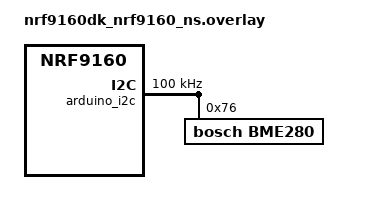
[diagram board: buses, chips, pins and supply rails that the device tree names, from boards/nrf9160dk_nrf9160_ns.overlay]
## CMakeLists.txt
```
cmake_minimum_required(VERSION 3.20.0)
find_package(Zephyr REQUIRED HINTS $ENV{ZEPHYR_BASE})

project(pharma_tracker
    VERSION 1.0.0
    DESCRIPTION "Cellular cold-chain monitor for pharmaceutical shipments"
    LANGUAGES C
)

target_sources(app PRIVATE
    src/main.c
    src/sensors.c
    src/gnss_ctrl.c
    src/log_store.c
    src/excursion.c
    src/payload.c
    src/cloud_client.c
)
```

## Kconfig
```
mainmenu "IoT Pharma Monitor (nRF9160)"
source "Kconfig.zephyr"
```

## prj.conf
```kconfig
# =====================================================================
# IoT Pharma Monitoring Device - project configuration
#
# TARGET: nRF Connect SDK v2.7.0 or newer (verified against the v2.8
#         API set; also correct for v2.9.x and v3.x).
#
# If you are on v2.6 or older, three symbols below are DIFFERENT and the
# build will fail or, worse, silently fail TLS. See README.md section
# "SDK version matrix" before changing anything.
# =====================================================================

# ---------------------------------------------------------------------
# 1. MANDATORY USER SETTINGS - fill these in before the first build
# ---------------------------------------------------------------------

# From:  aws iot describe-endpoint --endpoint-type iot:Data-ATS
CONFIG_AWS_IOT_BROKER_HOST_NAME="REPLACE-WITH-YOUR-ENDPOINT-ats.iot.eu-central-1.amazonaws.com"

# Must exactly match the AWS IoT Thing name.
CONFIG_AWS_IOT_CLIENT_ID_STATIC="pharma-tracker-001"

# Security tag the device certificate/key/CA were provisioned under.
# NOTE: on NCS <= 2.6 this option is called CONFIG_AWS_IOT_SEC_TAG.
CONFIG_MQTT_HELPER_SEC_TAG=42

# ---------------------------------------------------------------------
# 2. MODEM AND CELLULAR LINK
# ---------------------------------------------------------------------
CONFIG_NRF_MODEM_LIB=y
CONFIG_LTE_LINK_CONTROL=y

# Multimode: try LTE-M and NB-IoT, GNSS enabled.
#   LTE-M  - mobility and handover, needed while the shipment is moving,
#            and fast enough for firmware updates.
#   NB-IoT - best link budget, needed inside a warehouse cold room.
# Letting the modem select gives the best of both across a shipment.
CONFIG_LTE_NETWORK_MODE_LTE_M_NBIOT_GPS=y

# Power Saving Mode. Encoding is 3GPP 24.008 ch. 10.5.7.4a / 10.5.7.3:
#   RPTAU "00100001" -> unit bits 001 = 1 hour, value 00001 = 1  -> ~1 h
#   RAT   "00000000" -> unit bits 000 = 2 s,    value 00000 = 0  -> ~0 s
# A near-zero active timer is what lets the modem drop to the ~2.7 uA
# floor immediately after a transaction instead of idling at ~37 uA.
# The NETWORK may grant different values - watch the PSM_UPDATE log line.
CONFIG_LTE_PSM_REQ=y
CONFIG_LTE_PSM_REQ_RPTAU="00100001"
CONFIG_LTE_PSM_REQ_RAT="00000000"

# Uncomment to lock to the bands you actually deploy on. Band locking
# markedly shortens network search and avoids expensive HPPLMN scans on
# global/roaming SIMs. Bitmask is little-endian, bit 0 = band 1.
# CONFIG_LTE_LOCK_BANDS=y
# CONFIG_LTE_LOCK_BAND_MASK="10000000000010000001000000000000000010100"

# ---------------------------------------------------------------------
# 3. NETWORKING (all sockets are offloaded to the modem)
# ---------------------------------------------------------------------
CONFIG_NETWORKING=y
CONFIG_NET_NATIVE=n
CONFIG_NET_SOCKETS=y
CONFIG_NET_SOCKETS_OFFLOAD=y
CONFIG_NET_SOCKETS_POSIX_NAMES=n

# ---------------------------------------------------------------------
# 4. AWS IOT
# ---------------------------------------------------------------------
CONFIG_MQTT_LIB=y
CONFIG_MQTT_LIB_TLS=y
CONFIG_AWS_IOT=y

# One extra (non-shadow) topic: the device command topic.
CONFIG_AWS_IOT_APP_SUBSCRIPTION_LIST_COUNT=1

# Subscribe to the shadow delta so configuration changes are visible.
CONFIG_AWS_IOT_TOPIC_UPDATE_DELTA_SUBSCRIBE=y

# Payload buffer. Measured worst case is ~1170 B for a 10-record batch;
# 2048 leaves headroom without wasting RAM.
CONFIG_MQTT_HELPER_RX_TX_BUFFER_SIZE=2048
CONFIG_MQTT_HELPER_PAYLOAD_BUFFER_LEN=2048

# Keepalive must be shorter than the cellular NAT timeout or the broker
# will appear to drop the connection at random. 20 min is the AWS
# maximum; many LTE networks NAT-expire well before that.
CONFIG_MQTT_KEEPALIVE=600

# ---------------------------------------------------------------------
# 5. TIME
# ---------------------------------------------------------------------
CONFIG_DATE_TIME=y
CONFIG_DATE_TIME_AUTO_UPDATE=y
CONFIG_DATE_TIME_MODEM=y
CONFIG_DATE_TIME_NTP=y

# ---------------------------------------------------------------------
# 6. PERSISTENT STORAGE (the flash audit buffer)
# ---------------------------------------------------------------------
CONFIG_FLASH=y
CONFIG_FLASH_MAP=y
CONFIG_FLASH_PAGE_LAYOUT=y
CONFIG_NVS=y
CONFIG_MPU_ALLOW_FLASH_WRITE=y

# ---------------------------------------------------------------------
# 7. SENSORS
# ---------------------------------------------------------------------
CONFIG_I2C=y
CONFIG_SENSOR=y
CONFIG_BME280=y

# PT1000 RTD probe. Only meaningful together with
# overlays/rtd_probe.overlay - see README, "Ultra-cold payloads".
# CONFIG_SPI=y
# CONFIG_MAX31865=y

# ---------------------------------------------------------------------
# 8. SYSTEM
# ---------------------------------------------------------------------
CONFIG_MAIN_STACK_SIZE=4096
CONFIG_SYSTEM_WORKQUEUE_STACK_SIZE=2048
CONFIG_HEAP_MEM_POOL_SIZE=8192

CONFIG_REBOOT=y
CONFIG_ASSERT=y

# Watchdog-style protection against a wedged modem or MQTT thread can be
# added later; see README "Hardening checklist".

# ---------------------------------------------------------------------
# 9. LOGGING
#
# Keep logging ON while bringing the device up. For a battery build turn
# it OFF: an enabled UART console alone costs far more than the 2.7 uA
# PSM floor and will invalidate the power budget.
# ---------------------------------------------------------------------
CONFIG_LOG=y
CONFIG_LOG_MODE_DEFERRED=y
CONFIG_LOG_BUFFER_SIZE=4096
CONFIG_PHARMA_LOG_LEVEL_INF=y

CONFIG_PRINTK=y
CONFIG_CONSOLE=y
CONFIG_UART_CONSOLE=y
CONFIG_SERIAL=y

# We transmit only scaled integers, so no floating point formatter is
# needed. Leaving this off saves flash and avoids soft-double routines.
CONFIG_CBPRINTF_FP_SUPPORT=n

# ---------------------------------------------------------------------
# 10. PRODUCTION POWER PROFILE
#
# Uncomment this whole block for battery measurements and shipping
# firmware. Expect the PSM floor to drop to single-digit microamps only
# after the UART is genuinely disabled.
# ---------------------------------------------------------------------
# CONFIG_LOG=n
# CONFIG_SERIAL=n
# CONFIG_UART_CONSOLE=n
# CONFIG_CONSOLE=n
# CONFIG_PRINTK=n
# CONFIG_ASSERT=n

# ---------------------------------------------------------------------
# Floating-point support  [ADDED AFTER VIRTUAL-RUN VALIDATION]
#
# excursion.c computes Mean Kinetic Temperature using exp() and log()
# from libm. Without a math-capable libc these are undefined symbols and
# the image FAILS TO LINK:
#     undefined reference to `exp'
#     undefined reference to `log'
# This was caught by compiling excursion.c standalone; it is invisible
# until link time, which is why it survived earlier review.
#
# The nRF9160's Cortex-M33 has a hardware FPU. CONFIG_FPU=y makes the MKT
# computation use it instead of soft-float emulation.
#
# Float PRINTF stays off deliberately: payload.c emits integers only
# (centi-Celsius), so pulling in float formatting would cost ~2 kB of
# flash for nothing.
# ---------------------------------------------------------------------
CONFIG_FPU=y
CONFIG_NEWLIB_LIBC=y
CONFIG_NEWLIB_LIBC_FLOAT_PRINTF=n
```

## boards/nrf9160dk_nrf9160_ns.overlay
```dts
/*
 * Board overlay for the nRF9160 DK (PCA10090)
 *
 * Enables the BME280 environment sensor on the Arduino I2C bus.
 * The Arduino I2C bus on the nRF9160 DK maps to i2c2:
 *   SDA = P0.30  (Arduino header D14)
 *   SCL = P0.31  (Arduino header D15)
 *
 * Wiring:
 *   BME280 SDA  -> P0.30 (DK Arduino D14 / SDA)
 *   BME280 SCL  -> P0.31 (DK Arduino D15 / SCL)
 *   BME280 SDO  -> GND   (I2C address 0x76)
 *   BME280 CSB  -> VIN   (selects I2C mode)
 */
&arduino_i2c {
    status = "okay";
    clock-frequency = <I2C_BITRATE_STANDARD>;

    bme280: bme280@76 {
        compatible = "bosch,bme280";
        reg = <0x76>;
    };
};
```

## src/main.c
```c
/*
 * IoT Pharma Monitoring Device
 *
 * Cold-chain monitor built on the nRF9160: temperature, pressure,
 * humidity, GNSS location and excursion/MKT statistics, buffered to
 * flash and forwarded to AWS IoT Core over LTE-M / NB-IoT.
 *
 * CONTROL FLOW
 *   A single scheduling thread drives everything from monotonic uptime
 *   deadlines. This is deliberate: with one thread there are no races
 *   between sampling, publishing and GNSS, the ordering of events is
 *   reproducible, and the timing is trivial to reason about during a
 *   design review. Asynchronous work (modem, MQTT) arrives through
 *   callbacks that only ever set flags or give semaphores.
 *
 *   boot
 *     -> modem init -> storage -> sensors -> GNSS -> cloud lib
 *     -> LTE attach -> time sync -> backfill timestamps -> MQTT connect
 *     -> loop { sample | GNSS fix | publish | sleep }
 *
 * DATA INTEGRITY RULE
 *   Every sample is committed to flash before any transmission is
 *   attempted, and is only released after the broker returns a PUBACK.
 *   Loss of coverage therefore cannot create a hole in the record.
 *
 * SPDX-License-Identifier: Apache-2.0
 */

#include "app_config.h"
#include "record.h"
#include "log_store.h"
#include "sensors.h"
#include "gnss_ctrl.h"
#include "excursion.h"
#include "payload.h"
#include "cloud_client.h"

#include <zephyr/kernel.h>
#include <zephyr/logging/log.h>
#include <zephyr/sys/reboot.h>

#include <modem/nrf_modem_lib.h>
#include <modem/lte_lc.h>
#include <date_time.h>

#include <string.h>
#include <stdlib.h>

LOG_MODULE_REGISTER(main, CONFIG_PHARMA_LOG_LEVEL);

/* ------------------------------------------------------------------ *
 * Static working storage.
 *
 * Everything the hot path needs is allocated statically so that memory
 * exhaustion is a build-time property, not a field failure.
 * ------------------------------------------------------------------ */
static struct sample_record batch[APP_PUBLISH_BATCH_MAX];
static char                 payload_buf[APP_PAYLOAD_BUF_SIZE];

static K_SEM_DEFINE(lte_ready_sem, 0, 1);
static K_SEM_DEFINE(time_ready_sem, 0, 1);

static volatile bool lte_registered;
static volatile bool time_valid;

/* Offset that converts device uptime into UTC, learned at first sync. */
static int64_t uptime_to_utc_ms;
static bool    time_backfilled;

/* Scheduling deadlines, in uptime milliseconds. */
static int64_t next_sample_ms;
static int64_t next_publish_ms;
static int64_t next_gnss_ms;
static int64_t last_alarm_ms;

static uint32_t reconnect_backoff_s = APP_RECONNECT_BACKOFF_MIN_S;

/* ------------------------------------------------------------------ *
 * Modem and network callbacks
 * ------------------------------------------------------------------ */

static void lte_handler(const struct lte_lc_evt *const evt)
{
	switch (evt->type) {
	case LTE_LC_EVT_NW_REG_STATUS:
		switch (evt->nw_reg_status) {
		case LTE_LC_NW_REG_REGISTERED_HOME:
		case LTE_LC_NW_REG_REGISTERED_ROAMING:
			if (!lte_registered) {
				lte_registered = true;
				LOG_INF("LTE registered (%s)",
					evt->nw_reg_status ==
						LTE_LC_NW_REG_REGISTERED_HOME ?
						"home" : "roaming");
				k_sem_give(&lte_ready_sem);
			}
			break;
		case LTE_LC_NW_REG_NOT_REGISTERED:
		case LTE_LC_NW_REG_REGISTRATION_DENIED:
		case LTE_LC_NW_REG_UNKNOWN:
		case LTE_LC_NW_REG_UICC_FAIL:
			if (lte_registered) {
				LOG_WRN("LTE registration lost (%d)",
					evt->nw_reg_status);
			}
			lte_registered = false;
			break;
		default:
			break;
		}
		break;

	case LTE_LC_EVT_PSM_UPDATE:
		/*
		 * These are the values the NETWORK granted, which are often
		 * not what we requested. Log them: if the active timer is
		 * long the device will not reach the 2.7 uA floor and the
		 * battery estimate in docs/POWER_BUDGET.md will not hold.
		 */
		LOG_INF("PSM granted: TAU %d s, active %d s",
			evt->psm_cfg.tau, evt->psm_cfg.active_time);
		if (evt->psm_cfg.active_time < 0) {
			LOG_WRN("network refused PSM - expect much higher current");
		}
		break;

	case LTE_LC_EVT_EDRX_UPDATE:
		LOG_INF("eDRX granted: %d s cycle", (int)evt->edrx_cfg.edrx);
		break;

	case LTE_LC_EVT_RRC_UPDATE:
		LOG_DBG("RRC %s", evt->rrc_mode == LTE_LC_RRC_MODE_CONNECTED ?
			"connected" : "idle");
		break;

	default:
		break;
	}
}

static void date_time_handler(const struct date_time_evt *evt)
{
	switch (evt->type) {
	case DATE_TIME_OBTAINED_MODEM:
	case DATE_TIME_OBTAINED_NTP:
	case DATE_TIME_OBTAINED_EXT:
		if (!time_valid) {
			time_valid = true;
			k_sem_give(&time_ready_sem);
		}
		break;
	case DATE_TIME_NOT_OBTAINED:
		LOG_WRN("date-time not obtained");
		break;
	default:
		break;
	}
}

static void cloud_state_changed(bool connected)
{
	if (connected) {
		reconnect_backoff_s = APP_RECONNECT_BACKOFF_MIN_S;
	}
}

static void cloud_cmd_received(const char *topic, size_t topic_len,
			       const char *payload, size_t payload_len)
{
	ARG_UNUSED(topic);
	ARG_UNUSED(topic_len);

	/*
	 * Downlink commands are intentionally minimal for now. Anything
	 * that changes the alarm window or the sampling cadence of a
	 * regulated device must be authenticated and audited, so it is
	 * left as an explicit integration step rather than a silent
	 * remote-write path.
	 */
	LOG_INF("command received (%u bytes): %.*s",
		(unsigned int)payload_len, (int)payload_len, payload);
}

/* ------------------------------------------------------------------ *
 * Time handling
 * ------------------------------------------------------------------ */

/*
 * Return a timestamp for a record.
 *
 * Before the modem has network time we still have to log - a shipment
 * does not wait for a base station. Records taken in that window carry
 * uptime and are flagged as not-absolute; once time arrives they are
 * corrected in place by log_store_backfill_time().
 */
static int64_t record_timestamp(bool *absolute)
{
	int64_t utc_ms;

	if (date_time_now(&utc_ms) == 0) {
		*absolute = true;
		return utc_ms;
	}

	*absolute = false;
	return k_uptime_get();
}

static void try_backfill_time(void)
{
	int64_t utc_ms;

	if (time_backfilled || !time_valid) {
		return;
	}
	if (date_time_now(&utc_ms) != 0) {
		return;
	}

	uptime_to_utc_ms = utc_ms - k_uptime_get();
	(void)log_store_backfill_time(uptime_to_utc_ms);
	time_backfilled = true;
}

/* ------------------------------------------------------------------ *
 * Sampling
 * ------------------------------------------------------------------ */

static bool sample_once(void)
{
	struct sample_record rec;
	struct sensor_reading sr;
	struct gnss_fix fix;
	bool absolute = false;
	bool alarm_edge = false;
	uint16_t batt = 0U;
	int err;

	memset(&rec, 0, sizeof(rec));

	rec.ts_ms    = record_timestamp(&absolute);
	rec.amb_cc   = REC_TEMP_INVALID;
	rec.probe_cc = REC_TEMP_INVALID;
	rec.hum_cpct = REC_HUM_INVALID;
	rec.press_pa = REC_PRESS_INVALID;

	if (absolute) {
		rec.flags |= REC_FLAG_TIME_VALID;
	}

	err = sensors_read(&sr);
	if (err) {
		LOG_ERR("sensor read failed (%d) - logging an empty record", err);
	} else {
		rec.amb_cc   = sr.amb_cc;
		rec.probe_cc = sr.probe_cc;
		rec.hum_cpct = sr.hum_cpct;
		rec.press_pa = sr.press_pa;

		if (sr.amb_valid) {
			rec.flags |= REC_FLAG_AMB_VALID;
		}
		if (sr.probe_valid) {
			rec.flags |= REC_FLAG_PROBE_VALID;
		}
	}

	if (sensors_battery_mv(&batt) == 0) {
		rec.batt_mv = batt;
	}

	/* Attach the most recent GNSS fix. Location changes far more
	 * slowly than temperature, so re-using the last fix is correct
	 * and avoids a 50 mA receiver run on every sample.
	 */
	gnss_ctrl_last_fix(&fix);
	if (fix.valid) {
		rec.lat_e7 = fix.lat_e7;
		rec.lon_e7 = fix.lon_e7;
		rec.flags |= REC_FLAG_FIX_VALID;
	}

	rec.flags |= excursion_update(&rec, &alarm_edge);

	err = log_store_push(&rec);
	if (err) {
		LOG_ERR("failed to persist sample (%d)", err);
	} else {
		int16_t t_cc;

		if (record_compliance_temp(&rec, &t_cc)) {
			LOG_INF("seq %u: %d.%02d C, %u.%02u %%RH, %u Pa, %u mV%s",
				rec.seq, t_cc / 100, abs(t_cc % 100),
				rec.hum_cpct == REC_HUM_INVALID ? 0U :
					rec.hum_cpct / 100U,
				rec.hum_cpct == REC_HUM_INVALID ? 0U :
					rec.hum_cpct % 100U,
				rec.press_pa == REC_PRESS_INVALID ? 0U :
					rec.press_pa,
				rec.batt_mv,
				(rec.flags & REC_FLAG_ALARM) ? "  [ALARM]" : "");
		}
	}

	return alarm_edge;
}

/* ------------------------------------------------------------------ *
 * Publishing
 * ------------------------------------------------------------------ */

static int ensure_cloud(void)
{
	int err;

	if (cloud_client_is_connected()) {
		return 0;
	}
	if (!lte_registered) {
		return -ENETDOWN;
	}

	LOG_INF("reconnecting to cloud");

	err = cloud_client_connect(APP_CLOUD_CONNECT_TIMEOUT_S);
	if (err) {
		LOG_WRN("cloud connect failed (%d), backing off %u s",
			err, reconnect_backoff_s);
		k_sleep(K_SECONDS(reconnect_backoff_s));

		reconnect_backoff_s *= 2U;
		if (reconnect_backoff_s > APP_RECONNECT_BACKOFF_MAX_S) {
			reconnect_backoff_s = APP_RECONNECT_BACKOFF_MAX_S;
		}
		return err;
	}

	reconnect_backoff_s = APP_RECONNECT_BACKOFF_MIN_S;
	return 0;
}

/*
 * Drain the flash buffer to the broker, one batch at a time.
 *
 * Returns the number of records confirmed delivered. Stops at the first
 * failure and leaves everything still unacknowledged in flash so the
 * next attempt resumes exactly where this one stopped.
 */
static int publish_pending(void)
{
	struct excursion_stats stats;
	int delivered = 0;

	if (ensure_cloud() != 0) {
		return 0;
	}

	excursion_get_stats(&stats);

	while (log_store_pending() > 0U) {
		size_t count = 0U;
		size_t len = 0U;
		uint32_t last_seq;
		int err;

		err = log_store_peek(batch, ARRAY_SIZE(batch), &count);
		if (err || count == 0U) {
			break;
		}

		err = payload_build_telemetry(payload_buf, sizeof(payload_buf),
					      cloud_client_id(), batch, count,
					      &stats, log_store_dropped(), &len);
		if (err == -ENOMEM && count > 1U) {
			/*
			 * Defensive: should not happen with the configured
			 * batch size, but if a record ever encodes larger
			 * than expected, halve the batch rather than stall
			 * the pipeline forever.
			 */
			LOG_WRN("batch of %u too large, retrying with %u",
				(unsigned int)count, (unsigned int)(count / 2U));
			count /= 2U;
			err = payload_build_telemetry(payload_buf,
						      sizeof(payload_buf),
						      cloud_client_id(),
						      batch, count, &stats,
						      log_store_dropped(), &len);
		}
		if (err) {
			LOG_ERR("payload build failed (%d)", err);
			break;
		}

		last_seq = batch[count - 1U].seq;

		err = cloud_client_publish_telemetry(payload_buf, len, 30U);
		if (err) {
			LOG_WRN("publish failed (%d), %u records stay buffered",
				err, log_store_pending());
			break;
		}

		/* Broker has acknowledged: safe to release from flash. */
		(void)log_store_ack(last_seq);
		delivered += (int)count;
	}

	if (delivered > 0) {
		LOG_INF("delivered %d records, %u still pending",
			delivered, log_store_pending());
	}

	return delivered;
}

static void publish_alarm(void)
{
	struct excursion_stats stats;
	size_t count = 0U, len = 0U;
	int64_t now = k_uptime_get();

	if ((last_alarm_ms != 0) &&
	    (now - last_alarm_ms < (int64_t)APP_ALARM_MIN_INTERVAL_S * 1000)) {
		LOG_INF("alarm suppressed (rate limit)");
		return;
	}

	if (ensure_cloud() != 0) {
		LOG_WRN("alarm raised but cloud unreachable - buffered in flash");
		return;
	}

	excursion_get_stats(&stats);

	/* Send the most recent records so the alarm carries its own
	 * evidence rather than just a flag.
	 */
	if (log_store_peek(batch, ARRAY_SIZE(batch), &count) != 0 || count == 0U) {
		return;
	}

	if (payload_build_telemetry(payload_buf, sizeof(payload_buf),
				    cloud_client_id(), batch, count, &stats,
				    log_store_dropped(), &len) != 0) {
		return;
	}

	if (cloud_client_publish_alarm(payload_buf, len, 30U) == 0) {
		last_alarm_ms = now;
		LOG_WRN("ALARM published");
	}
}

static void publish_shadow(void)
{
	struct excursion_stats stats;
	size_t len = 0U;
	uint16_t batt = 0U;

	if (!cloud_client_is_connected()) {
		return;
	}

	excursion_get_stats(&stats);
	(void)sensors_battery_mv(&batt);

	if (payload_build_shadow(payload_buf, sizeof(payload_buf), &stats,
				 batt, log_store_pending(),
				 log_store_dropped(), &len) == 0) {
		(void)cloud_client_publish_shadow(payload_buf, len);
	}
}

/* ------------------------------------------------------------------ *
 * GNSS
 * ------------------------------------------------------------------ */

static void do_gnss_fix(void)
{
	struct gnss_fix fix;
	int err;

	/*
	 * Take the fix while the modem is idle. GNSS and LTE share one RF
	 * front end, so running a fix during a publish makes both slower
	 * and more expensive.
	 */
	LOG_INF("starting GNSS fix (timeout %d s)", APP_GNSS_TIMEOUT_S);

	err = gnss_ctrl_fix(&fix, APP_GNSS_TIMEOUT_S);
	if (err) {
		LOG_WRN("no GNSS fix this cycle (%d)%s", err,
			gnss_ctrl_was_blocked() ? " - LTE contention" : "");
	}
}

/* ------------------------------------------------------------------ *
 * Startup
 * ------------------------------------------------------------------ */

static int bring_up_network(void)
{
	int err;

	LOG_INF("attaching to LTE (this can take minutes on first boot)");

	err = lte_lc_connect_async(lte_handler);
	if (err) {
		LOG_ERR("lte_lc_connect_async failed (%d)", err);
		return err;
	}

	if (k_sem_take(&lte_ready_sem,
		       K_SECONDS(APP_LTE_CONNECT_TIMEOUT_S)) != 0) {
		LOG_ERR("LTE attach timed out after %d s",
			APP_LTE_CONNECT_TIMEOUT_S);
		return -ETIMEDOUT;
	}

	return 0;
}

static void bring_up_time(void)
{
	date_time_register_handler(date_time_handler);
	(void)date_time_update_async(NULL);

	if (k_sem_take(&time_ready_sem,
		       K_SECONDS(APP_TIME_SYNC_TIMEOUT_S)) == 0) {
		LOG_INF("network time obtained");
	} else {
		LOG_WRN("no network time yet - logging with uptime, will backfill");
	}

	try_backfill_time();
}

int main(void)
{
	int err;
	int64_t now;

	LOG_INF("=====================================================");
	LOG_INF(" IoT Pharma Monitoring Device  v%s", APP_FW_VERSION);
	LOG_INF(" profile %s  sample %ds  publish %ds  gnss %ds",
		APP_PROFILE_NAME, APP_SAMPLE_PERIOD_S,
		APP_PUBLISH_PERIOD_S, APP_GNSS_PERIOD_S);
	LOG_INF("=====================================================");

	err = nrf_modem_lib_init();
	if (err) {
		LOG_ERR("nrf_modem_lib_init failed (%d) - halting", err);
		return err;
	}

	err = log_store_init();
	if (err) {
		LOG_ERR("storage init failed (%d) - halting", err);
		return err;
	}

	err = sensors_init();
	if (err) {
		/*
		 * Refuse to run rather than silently produce an unusable
		 * compliance record. This is the correct behaviour for a
		 * regulated device: no data is better than wrong data.
		 */
		LOG_ERR("sensor configuration invalid (%d) - halting", err);
		return err;
	}

	excursion_init();

	err = gnss_ctrl_init();
	if (err) {
		LOG_WRN("GNSS init failed (%d) - continuing without location",
			err);
	}

	err = cloud_client_init(cloud_cmd_received, cloud_state_changed);
	if (err) {
		LOG_ERR("cloud init failed (%d) - halting", err);
		return err;
	}

	/*
	 * Start sampling immediately, before the network is up. A shipment
	 * that begins in a warehouse with no coverage must still be logged
	 * from the first minute.
	 */
	now = k_uptime_get();
	next_sample_ms  = now;
	next_gnss_ms    = now + 30000;   /* let the modem settle first */
	next_publish_ms = now + (int64_t)APP_PUBLISH_PERIOD_S * 1000;

	if (bring_up_network() == 0) {
		bring_up_time();
		if (ensure_cloud() == 0) {
			publish_shadow();
		}
	} else {
		LOG_WRN("starting offline - samples will buffer to flash");
	}

	LOG_INF("entering main loop");

	while (1) {
		int64_t sleep_ms;
		bool alarm_edge = false;

		now = k_uptime_get();

		/* ---- sample ---------------------------------------- */
		if (now >= next_sample_ms) {
			alarm_edge = sample_once();
			next_sample_ms = now +
					 (int64_t)APP_SAMPLE_PERIOD_S * 1000;

			try_backfill_time();
		}

		/* ---- alarm: publish out of turn --------------------- */
		if (alarm_edge && APP_EXCURSION_IMMEDIATE) {
			publish_alarm();
			/* The alarm carried the buffered records, so let the
			 * normal drain follow immediately to clear them.
			 */
			(void)publish_pending();
			next_publish_ms = k_uptime_get() +
					  (int64_t)APP_PUBLISH_PERIOD_S * 1000;
		}

		/* ---- GNSS ------------------------------------------ */
		now = k_uptime_get();
		if (now >= next_gnss_ms) {
			do_gnss_fix();
			next_gnss_ms = k_uptime_get() +
				       (int64_t)APP_GNSS_PERIOD_S * 1000;
		}

		/* ---- scheduled publish ----------------------------- */
		now = k_uptime_get();
		if (now >= next_publish_ms) {
			(void)publish_pending();
			publish_shadow();
			next_publish_ms = k_uptime_get() +
					  (int64_t)APP_PUBLISH_PERIOD_S * 1000;
		}

		/* ---- sleep until the next deadline ------------------ */
		now = k_uptime_get();
		sleep_ms = MIN(next_sample_ms, MIN(next_gnss_ms, next_publish_ms))
			   - now;

		if (sleep_ms < 10) {
			sleep_ms = 10;      /* never spin */
		}

		/* Cast to int: sleep_ms is bounded by the longest period
		 * (6 h = 21.6e6 ms) and fits comfortably in 32 bits. Avoids
		 * depending on 64-bit conversions in Zephyr's reduced printf.
		 */
		LOG_DBG("idle for %d ms", (int)sleep_ms);
		k_sleep(K_MSEC(sleep_ms));
	}

	return 0;
}
```

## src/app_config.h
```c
/*
 * app_config.h - compile-time configuration for the pharma tracker
 *
 * All timing in seconds. All temperatures in centi-Celsius (1/100 °C).
 * Change the active profile block to match your shipment type.
 *
 * SPDX-License-Identifier: Apache-2.0
 */
#ifndef APP_CONFIG_H__
#define APP_CONFIG_H__

/* ============================================================ */
/* Temperature profile — uncomment exactly ONE                   */
/* ============================================================ */

/* Refrigerated pharmaceuticals: vaccines, biologics, insulin    */
#define APP_PROFILE_ID       1
#define APP_PROFILE_NAME     "REFRIG_2_8"
#define APP_TEMP_LO_CC       200     /*  +2.00 °C in centi-Celsius */
#define APP_TEMP_HI_CC       800     /*  +8.00 °C in centi-Celsius */

/* Controlled room temperature
#define APP_PROFILE_ID       0
#define APP_PROFILE_NAME     "CRT_15_25"
#define APP_TEMP_LO_CC       1500
#define APP_TEMP_HI_CC       2500
*/

/* Frozen (-25 to -15 °C) - requires PT1000 probe overlay
#define APP_PROFILE_ID       2
#define APP_PROFILE_NAME     "FROZEN_M25_M15"
#define APP_TEMP_LO_CC       (-2500)
#define APP_TEMP_HI_CC       (-1500)
*/

/* Ultra-cold (-80 to -60 °C) - requires PT1000 probe overlay
#define APP_PROFILE_ID       3
#define APP_PROFILE_NAME     "ULTRACOLD_M80_M60"
#define APP_TEMP_LO_CC       (-8000)
#define APP_TEMP_HI_CC       (-6000)
*/

/* ============================================================ */
/* Timing                                                        */
/* ============================================================ */
#define APP_SAMPLE_PERIOD_S      300    /* sense every 5 min        */
#define APP_PUBLISH_PERIOD_S     3600   /* batch uplink every 1 h   */
#define APP_GNSS_PERIOD_S        21600  /* GNSS fix every 6 h       */

/* ============================================================ */
/* Storage / payload                                             */
/* ============================================================ */
#define APP_STORE_MAX_RECORDS    512    /* ring buffer hard cap      */
#define APP_PUBLISH_BATCH_MAX    10     /* records per MQTT message  */
#define APP_PAYLOAD_BUF_SIZE     1536   /* bytes, sized in README    */

/* ============================================================ */
/* Excursion detection                                           */
/* ============================================================ */
/* N consecutive out-of-band samples before alarm fires.
 * At 5-min cadence: 3 × 300 s = 15 min confirmation window.
 * Rejects door-opens; real excursions always take longer.      */
#define APP_EXC_CONFIRM_COUNT    3

/* ============================================================ */
/* Firmware identity                                             */
/* ============================================================ */
#define APP_FW_VERSION           "1.0.0"
#define APP_MQTT_TOPIC_FMT       "pharma/%s/telemetry"
#define APP_SHADOW_TOPIC_FMT     "$aws/things/%s/shadow/update"

/* ============================================================ */
/* Logging level (0=off 1=err 2=wrn 3=inf 4=dbg)               */
/* ============================================================ */
#ifndef CONFIG_PHARMA_LOG_LEVEL
#define CONFIG_PHARMA_LOG_LEVEL  3
#endif

#endif /* APP_CONFIG_H__ */
```

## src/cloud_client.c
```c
/*
 * IoT Pharma Monitoring Device - AWS IoT Core client
 *
 * SPDX-License-Identifier: Apache-2.0
 */

#include "cloud_client.h"
#include "app_config.h"

#include <zephyr/kernel.h>
#include <zephyr/logging/log.h>
#include <zephyr/net/mqtt.h>
#include <net/aws_iot.h>
#include <stdio.h>
#include <string.h>

LOG_MODULE_REGISTER(cloud, CONFIG_PHARMA_LOG_LEVEL);

static K_SEM_DEFINE(connected_sem, 0, 1);
static K_SEM_DEFINE(puback_sem, 0, 1);

static char topic_telemetry[APP_TOPIC_MAX_LEN];
static char topic_alarm[APP_TOPIC_MAX_LEN];
static char topic_cmd[APP_TOPIC_MAX_LEN];

static struct mqtt_topic sub_topics[1];

static cloud_cmd_cb_t   user_cmd_cb;
static cloud_state_cb_t user_state_cb;

static volatile bool     connected;
static volatile uint16_t awaited_msg_id;
static volatile bool     puback_ok;
static uint16_t          next_msg_id = 1U;

/* ------------------------------------------------------------------ */

static uint16_t alloc_msg_id(void)
{
	/* MQTT message id 0 is reserved. */
	if (next_msg_id == 0U) {
		next_msg_id = 1U;
	}
	return next_msg_id++;
}

static void aws_evt_handler(const struct aws_iot_evt *const evt)
{
	switch (evt->type) {
	case AWS_IOT_EVT_CONNECTING:
		LOG_INF("connecting to AWS IoT");
		break;

	case AWS_IOT_EVT_CONNECTED:
		LOG_INF("connected to AWS IoT");
		connected = true;
		k_sem_give(&connected_sem);
		if (user_state_cb) {
			user_state_cb(true);
		}
		break;

	case AWS_IOT_EVT_DISCONNECTED:
		LOG_WRN("disconnected from AWS IoT");
		connected = false;
		/* Release any publisher blocked on a PUBACK that will now
		 * never arrive, so the caller can retry from flash.
		 */
		puback_ok = false;
		k_sem_give(&puback_sem);
		if (user_state_cb) {
			user_state_cb(false);
		}
		break;

	case AWS_IOT_EVT_DATA_RECEIVED:
		LOG_INF("downlink %u bytes", (unsigned int)evt->data.msg.len);
		if (user_cmd_cb) {
			user_cmd_cb(evt->data.msg.topic.str,
				    evt->data.msg.topic.len,
				    evt->data.msg.ptr,
				    evt->data.msg.len);
		}
		break;

	case AWS_IOT_EVT_PUBACK:
		LOG_DBG("PUBACK id %u", evt->data.message_id);
		if (evt->data.message_id == awaited_msg_id) {
			puback_ok = true;
			k_sem_give(&puback_sem);
		}
		break;

	case AWS_IOT_EVT_ERROR:
		LOG_ERR("AWS IoT error %d", evt->data.err);
		break;

	default:
		break;
	}
}

/* ------------------------------------------------------------------ */

int cloud_client_init(cloud_cmd_cb_t cmd_cb, cloud_state_cb_t state_cb)
{
	const char *id = CONFIG_AWS_IOT_CLIENT_ID_STATIC;
	int err;

	user_cmd_cb   = cmd_cb;
	user_state_cb = state_cb;

	if (snprintf(topic_telemetry, sizeof(topic_telemetry),
		     APP_TOPIC_TELEMETRY_FMT, id) >= (int)sizeof(topic_telemetry) ||
	    snprintf(topic_alarm, sizeof(topic_alarm),
		     APP_TOPIC_ALARM_FMT, id) >= (int)sizeof(topic_alarm) ||
	    snprintf(topic_cmd, sizeof(topic_cmd),
		     APP_TOPIC_CMD_FMT, id) >= (int)sizeof(topic_cmd)) {
		LOG_ERR("topic string truncated - increase APP_TOPIC_MAX_LEN");
		return -ENAMETOOLONG;
	}

	LOG_INF("thing '%s'", id);
	LOG_INF("  telemetry -> %s", topic_telemetry);
	LOG_INF("  alarm     -> %s", topic_alarm);
	LOG_INF("  command   <- %s", topic_cmd);

	/* NCS >= 2.7: the event handler is the only argument. */
	err = aws_iot_init(aws_evt_handler);
	if (err) {
		LOG_ERR("aws_iot_init failed (%d)", err);
		return err;
	}

	sub_topics[0].topic.utf8 = (const uint8_t *)topic_cmd;
	sub_topics[0].topic.size = strlen(topic_cmd);
	sub_topics[0].qos        = MQTT_QOS_1_AT_LEAST_ONCE;

	err = aws_iot_application_topics_set(sub_topics, ARRAY_SIZE(sub_topics));
	if (err) {
		LOG_ERR("aws_iot_application_topics_set failed (%d)", err);
		return err;
	}

	return 0;
}

int cloud_client_connect(uint32_t timeout_s)
{
	struct aws_iot_config cfg = { 0 };
	int err;

	k_sem_reset(&connected_sem);

	err = aws_iot_connect(&cfg);
	if (err) {
		LOG_ERR("aws_iot_connect failed (%d)", err);
		return err;
	}

	if (k_sem_take(&connected_sem, K_SECONDS(timeout_s)) != 0) {
		LOG_ERR("timed out waiting for AWS IoT connection");
		return -ETIMEDOUT;
	}

	return 0;
}

int cloud_client_disconnect(void)
{
	connected = false;
	return aws_iot_disconnect();
}

bool cloud_client_is_connected(void)
{
	return connected;
}

/* ------------------------------------------------------------------ *
 * Confirmed publish.
 *
 * Sends at QoS 1 and blocks until the broker's PUBACK for this exact
 * message id arrives. Only then may the caller release the records from
 * the flash audit buffer.
 * ------------------------------------------------------------------ */
static int publish_confirmed(const char *topic, const void *data, size_t len,
			     uint32_t timeout_s)
{
	struct aws_iot_data msg = { 0 };
	uint16_t id;
	int err;

	if (data == NULL || len == 0U) {
		return -EINVAL;
	}
	if (!connected) {
		return -ENOTCONN;
	}

	id = alloc_msg_id();

	msg.ptr        = data;
	msg.len        = len;
	msg.qos        = MQTT_QOS_1_AT_LEAST_ONCE;
	msg.message_id = id;
	msg.topic.str  = topic;
	msg.topic.len  = strlen(topic);

	awaited_msg_id = id;
	puback_ok      = false;
	k_sem_reset(&puback_sem);

	err = aws_iot_send(&msg);
	if (err) {
		LOG_ERR("aws_iot_send failed (%d)", err);
		awaited_msg_id = 0U;
		return err;
	}

	if (k_sem_take(&puback_sem, K_SECONDS(timeout_s)) != 0) {
		LOG_WRN("no PUBACK for id %u within %u s", id, timeout_s);
		awaited_msg_id = 0U;
		return -ETIMEDOUT;
	}

	awaited_msg_id = 0U;

	if (!puback_ok) {
		LOG_WRN("publish id %u aborted (link dropped)", id);
		return -ECONNRESET;
	}

	LOG_INF("published %u bytes to %s (confirmed)",
		(unsigned int)len, topic);
	return 0;
}

int cloud_client_publish_telemetry(const void *data, size_t len,
				   uint32_t timeout_s)
{
	return publish_confirmed(topic_telemetry, data, len, timeout_s);
}

int cloud_client_publish_alarm(const void *data, size_t len, uint32_t timeout_s)
{
	return publish_confirmed(topic_alarm, data, len, timeout_s);
}

int cloud_client_publish_shadow(const void *data, size_t len)
{
	struct aws_iot_data msg = { 0 };

	if (!connected) {
		return -ENOTCONN;
	}

	msg.ptr        = data;
	msg.len        = len;
	msg.qos        = MQTT_QOS_0_AT_MOST_ONCE;
	msg.topic.type = AWS_IOT_SHADOW_TOPIC_UPDATE;

	return aws_iot_send(&msg);
}

const char *cloud_client_id(void)
{
	return CONFIG_AWS_IOT_CLIENT_ID_STATIC;
}
```

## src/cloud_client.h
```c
/*
 * cloud_client.h - AWS IoT Core MQTT/TLS connection manager
 * SPDX-License-Identifier: Apache-2.0
 */
#ifndef CLOUD_CLIENT_H__
#define CLOUD_CLIENT_H__

#include <stddef.h>
#include <stdbool.h>

/**
 * @brief Initialise the cloud client. Call once after LTE is registered.
 * @return 0 on success, negative errno on failure.
 */
int cloud_client_init(void);

/**
 * @brief Establish the MQTT/TLS connection to AWS IoT Core.
 *
 * Blocks until connected or until an internal timeout.
 *
 * @return 0 on success, negative errno on failure.
 */
int cloud_client_connect(void);

/**
 * @brief Publish a payload to the telemetry topic.
 *
 * Delivers with QoS 1 (at-least-once). Waits for PUBACK.
 * After PUBACK, sets SO_RAI so the modem releases RRC immediately.
 *
 * @param payload  JSON string to publish.
 * @param len      Length of payload (bytes).
 * @return 0 on PUBACK, negative errno on failure.
 */
int cloud_client_publish(const char *payload, size_t len);

/**
 * @brief Publish an AWS Device Shadow update.
 *
 * @param payload  JSON shadow document.
 * @param len      Length of payload (bytes).
 * @return 0 on success, negative errno on failure.
 */
int cloud_client_publish_shadow(const char *payload, size_t len);

/**
 * @brief Return true if the MQTT connection is currently established.
 */
bool cloud_client_is_connected(void);

/**
 * @brief Gracefully disconnect from AWS IoT Core.
 */
void cloud_client_disconnect(void);

#endif /* CLOUD_CLIENT_H__ */
```

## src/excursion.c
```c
/*
 * IoT Pharma Monitoring Device - excursion detection and MKT
 *
 * SPDX-License-Identifier: Apache-2.0
 */

#include "excursion.h"
#include "app_config.h"

#include <zephyr/kernel.h>
#include <zephyr/logging/log.h>
#include <math.h>
#include <stdlib.h>   /* abs() - used in the log formatting below */

LOG_MODULE_REGISTER(excursion, CONFIG_PHARMA_LOG_LEVEL);

/* ------------------------------------------------------------------ *
 * record_compliance_temp() lives here because "which sensor is the
 * auditable one" is a compliance decision, not a storage detail.
 * ------------------------------------------------------------------ */
bool record_compliance_temp(const struct sample_record *rec, int16_t *out)
{
	if (rec == NULL || out == NULL) {
		return false;
	}

#if APP_COMPLIANCE_SRC_PROBE
	if (rec->flags & REC_FLAG_PROBE_VALID) {
		*out = rec->probe_cc;
		return true;
	}
#else
	if (rec->flags & REC_FLAG_AMB_VALID) {
		*out = rec->amb_cc;
		return true;
	}
#endif
	return false;
}

/* ------------------------------------------------------------------ */

static struct {
	bool     alarm_active;
	uint16_t consec_out;
	uint32_t events;
	uint32_t time_low_s;
	uint32_t time_high_s;
	int16_t  min_cc;
	int16_t  max_cc;
	uint32_t samples;

	/*
	 * MKT accumulator.
	 *
	 * MUST be double. At +5 C the exponent is -dH/(R*T) = -36.0, so each
	 * term is exp(-36.0) ~ 2.4e-16. Single precision has a smallest
	 * normal of ~1.2e-38 and only 24 bits of mantissa: summing thousands
	 * of 1e-16 terms in float loses catastrophic precision and can
	 * underflow outright at cold temperatures. The Cortex-M33 has only a
	 * single-precision FPU so this is a software double, but it runs
	 * once per sample (every 5 minutes), which is free.
	 */
	double   mkt_sum;
} st;

static struct k_mutex lock;

void excursion_init(void)
{
	k_mutex_init(&lock);

	st.alarm_active = false;
	st.consec_out   = 0U;
	st.events       = 0U;
	st.time_low_s   = 0U;
	st.time_high_s  = 0U;
	st.min_cc       = INT16_MAX;
	st.max_cc       = INT16_MIN;
	st.samples      = 0U;
	st.mkt_sum      = 0.0;

	LOG_INF("profile %s: window %d.%02d C .. %d.%02d C, debounce %d samples",
		APP_PROFILE_NAME,
		APP_TEMP_LO_CC / 100, abs(APP_TEMP_LO_CC % 100),
		APP_TEMP_HI_CC / 100, abs(APP_TEMP_HI_CC % 100),
		APP_EXCURSION_DEBOUNCE);
}

uint16_t excursion_update(const struct sample_record *rec, bool *alarm_edge)
{
	uint16_t flags = 0U;
	int16_t  t_cc;
	bool     out_of_window = false;
	double   kelvin;

	if (alarm_edge != NULL) {
		*alarm_edge = false;
	}

	if (!record_compliance_temp(rec, &t_cc)) {
		/* No auditable temperature this cycle. Do not touch the
		 * statistics: a missing sample must not look like a good one.
		 */
		LOG_WRN("sample seq %u has no compliance temperature", rec->seq);
		return 0U;
	}

	k_mutex_lock(&lock, K_FOREVER);

	/* ---- range check -------------------------------------------- */
	if (t_cc < APP_TEMP_LO_CC) {
		flags |= REC_FLAG_EXC_LOW;
		st.time_low_s += APP_SAMPLE_PERIOD_S;
		out_of_window = true;
	} else if (t_cc > APP_TEMP_HI_CC) {
		flags |= REC_FLAG_EXC_HIGH;
		st.time_high_s += APP_SAMPLE_PERIOD_S;
		out_of_window = true;
	}

#if APP_HUM_CHECK
	if ((rec->hum_cpct != REC_HUM_INVALID) &&
	    (rec->hum_cpct < APP_HUM_LO_CPCT || rec->hum_cpct > APP_HUM_HI_CPCT)) {
		flags |= REC_FLAG_EXC_HUM;
	}
#endif

	/* ---- debounce and latch ------------------------------------- */
	if (out_of_window) {
		if (st.consec_out < UINT16_MAX) {
			st.consec_out++;
		}

		if (st.consec_out == APP_EXCURSION_DEBOUNCE) {
			/*
			 * Rising edge of a confirmed excursion. Fires exactly
			 * once per event because consec_out keeps counting
			 * past the threshold and is only reset on return to
			 * the window.
			 */
			st.events++;
			if (alarm_edge != NULL) {
				*alarm_edge = true;
			}
			LOG_WRN("EXCURSION CONFIRMED: %d.%02d C outside [%d.%02d, %d.%02d] (event %u)",
				t_cc / 100, abs(t_cc % 100),
				APP_TEMP_LO_CC / 100, abs(APP_TEMP_LO_CC % 100),
				APP_TEMP_HI_CC / 100, abs(APP_TEMP_HI_CC % 100),
				st.events);
		}

		if (st.consec_out >= APP_EXCURSION_DEBOUNCE) {
			/* Latched for the rest of the shipment: an excursion
			 * that already happened cannot be undone by the
			 * temperature coming back into range.
			 */
			st.alarm_active = true;
		}
	} else {
		st.consec_out = 0U;
	}

	if (st.alarm_active) {
		flags |= REC_FLAG_ALARM;
	}

	/* ---- min / max ---------------------------------------------- */
	if (t_cc < st.min_cc) {
		st.min_cc = t_cc;
	}
	if (t_cc > st.max_cc) {
		st.max_cc = t_cc;
	}

	/* ---- MKT accumulation --------------------------------------- */
	kelvin = ((double)t_cc / 100.0) + 273.15;
	if (kelvin > 1.0) {   /* guard against absurd sensor faults */
		st.mkt_sum += exp(-APP_MKT_DELTA_H_J_PER_MOL /
				  (APP_GAS_CONST_J_PER_MOL_K * kelvin));
		st.samples++;
	}

	k_mutex_unlock(&lock);
	return flags;
}

bool excursion_alarm_active(void)
{
	return st.alarm_active;
}

void excursion_get_stats(struct excursion_stats *out)
{
	if (out == NULL) {
		return;
	}

	k_mutex_lock(&lock, K_FOREVER);

	out->alarm_active = st.alarm_active;
	out->events       = st.events;
	out->time_low_s   = st.time_low_s;
	out->time_high_s  = st.time_high_s;
	out->min_cc       = st.min_cc;
	out->max_cc       = st.max_cc;
	out->samples      = st.samples;
	out->mkt_valid    = false;
	out->mkt_cc       = 0;

	if (st.samples > 0U && st.mkt_sum > 0.0) {
		double mean = st.mkt_sum / (double)st.samples;
		double denom = -log(mean);

		if (denom > 1e-9) {
			double mkt_k = (APP_MKT_DELTA_H_J_PER_MOL /
					APP_GAS_CONST_J_PER_MOL_K) / denom;
			double mkt_c = mkt_k - 273.15;

			if (mkt_c > -273.0 && mkt_c < 300.0) {
				/* round-half-away-from-zero to centi-C */
				out->mkt_cc = (int16_t)(mkt_c * 100.0 +
						(mkt_c >= 0.0 ? 0.5 : -0.5));
				out->mkt_valid = true;
			}
		}
	}

	k_mutex_unlock(&lock);
}
```

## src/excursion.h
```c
/*
 * excursion.h - temperature excursion detection, debounce, and MKT
 * SPDX-License-Identifier: Apache-2.0
 */
#ifndef EXCURSION_H__
#define EXCURSION_H__

#include <stdint.h>
#include <stdbool.h>
#include "record.h"

/** Statistics snapshot returned by excursion_get_stats(). */
struct excursion_stats {
    uint32_t samples;       /* total samples processed              */
    uint32_t events;        /* number of confirmed excursion events */
    int16_t  min_cc;        /* minimum temperature seen, centi-°C  */
    int16_t  max_cc;        /* maximum temperature seen, centi-°C  */
    uint32_t time_high_s;   /* cumulative seconds above high limit  */
    uint32_t time_low_s;    /* cumulative seconds below low  limit  */
    bool     alarm_active;  /* excursion alarm currently raised     */
    bool     mkt_valid;     /* mkt_cc is a valid result             */
    int32_t  mkt_cc;        /* Mean Kinetic Temperature, centi-°C  */
};

/**
 * @brief Initialise the excursion module. Call once at boot.
 */
void excursion_init(void);

/**
 * @brief Process one sample record.
 *
 * Updates internal state. If this sample triggers or clears an alarm
 * edge, *alarm_edge is set true so the caller can publish immediately
 * instead of waiting for the next scheduled uplink.
 *
 * @param rec        Completed sample record.
 * @param alarm_edge Set to true on alarm state *change* (raise or clear).
 * @return flags bitmask (REC_FLAG_EXC_LOW / REC_FLAG_EXC_HIGH).
 */
uint16_t excursion_update(const struct sample_record *rec, bool *alarm_edge);

/**
 * @brief Copy current statistics into *out (thread-safe snapshot).
 * @param out  Destination buffer, must not be NULL.
 */
void excursion_get_stats(struct excursion_stats *out);

/**
 * @brief Reset all statistics (e.g. new shipment start).
 */
void excursion_reset(void);

#endif /* EXCURSION_H__ */
```

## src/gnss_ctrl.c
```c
/*
 * IoT Pharma Monitoring Device - GNSS control
 *
 * SPDX-License-Identifier: Apache-2.0
 */

#include "gnss_ctrl.h"
#include "app_config.h"

#include <zephyr/kernel.h>
#include <zephyr/logging/log.h>
#include <nrf_modem_gnss.h>
#include <string.h>
#include <stdlib.h>   /* abs() - used in the log formatting below */

LOG_MODULE_REGISTER(gnss, CONFIG_PHARMA_LOG_LEVEL);

static K_SEM_DEFINE(fix_sem, 0, 1);

static struct nrf_modem_gnss_pvt_data_frame pvt;   /* written from ISR */
static struct gnss_fix last_fix;
static volatile bool   fix_ready;
static volatile bool   sleep_timeout;
static volatile bool   blocked;
static int64_t         start_uptime_ms;

/* ------------------------------------------------------------------ *
 * Event handler.
 *
 * Runs in interrupt context. Keep it to: read the frame, set a flag,
 * signal a semaphore. All interpretation happens in gnss_ctrl_fix().
 * ------------------------------------------------------------------ */
static void gnss_event_handler(int event_id)
{
	int err;

	switch (event_id) {
	case NRF_MODEM_GNSS_EVT_PVT:
		err = nrf_modem_gnss_read(&pvt, sizeof(pvt),
					  NRF_MODEM_GNSS_DATA_PVT);
		if (err) {
			break;
		}
		if (pvt.flags & NRF_MODEM_GNSS_PVT_FLAG_FIX_VALID) {
			fix_ready = true;
			k_sem_give(&fix_sem);
		}
		/*
		 * If LTE keeps stealing the receive windows the modem sets
		 * NOT_ENOUGH_WINDOW_TIME. Record it so the caller can decide
		 * whether to schedule fixes at a quieter moment.
		 */
		if (pvt.flags & NRF_MODEM_GNSS_PVT_FLAG_NOT_ENOUGH_WINDOW_TIME) {
			blocked = true;
		}
		break;

	case NRF_MODEM_GNSS_EVT_BLOCKED:
		blocked = true;
		break;

	case NRF_MODEM_GNSS_EVT_SLEEP_AFTER_TIMEOUT:
		/* Retry budget exhausted: stop waiting immediately instead
		 * of burning the full caller timeout with the receiver on.
		 */
		sleep_timeout = true;
		k_sem_give(&fix_sem);
		break;

	default:
		break;
	}
}

/* ------------------------------------------------------------------ */

int gnss_ctrl_init(void)
{
	int err;

	memset(&last_fix, 0, sizeof(last_fix));

	err = nrf_modem_gnss_event_handler_set(gnss_event_handler);
	if (err) {
		LOG_ERR("event_handler_set failed (%d)", err);
		return err;
	}

	/*
	 * Single-fix mode: interval 0 means "one fix then stop".
	 * (1 would be continuous navigation, >=10 periodic.)
	 */
	err = nrf_modem_gnss_fix_interval_set(0);
	if (err) {
		LOG_ERR("fix_interval_set failed (%d)", err);
		return err;
	}

	err = nrf_modem_gnss_fix_retry_set(APP_GNSS_TIMEOUT_S);
	if (err) {
		LOG_ERR("fix_retry_set failed (%d)", err);
		return err;
	}

	/*
	 * Multiple hot starts: we fix repeatedly over a shipment, hours
	 * apart, so the receiver should keep its data between runs.
	 */
	err = nrf_modem_gnss_use_case_set(NRF_MODEM_GNSS_USE_CASE_MULTIPLE_HOT_START);
	if (err) {
		LOG_WRN("use_case_set failed (%d), continuing with default", err);
	}

	LOG_INF("GNSS ready (single fix, %d s retry)", APP_GNSS_TIMEOUT_S);
	return 0;
}

int gnss_ctrl_fix(struct gnss_fix *out, uint32_t timeout_s)
{
	int err;
	int ret = 0;

	if (out == NULL) {
		return -EINVAL;
	}

	memset(out, 0, sizeof(*out));

	fix_ready     = false;
	sleep_timeout = false;
	blocked       = false;
	k_sem_reset(&fix_sem);

	err = nrf_modem_gnss_fix_retry_set((uint16_t)timeout_s);
	if (err) {
		LOG_WRN("fix_retry_set failed (%d)", err);
	}

	start_uptime_ms = k_uptime_get();

	err = nrf_modem_gnss_start();
	if (err) {
		LOG_ERR("gnss_start failed (%d)", err);
		return err;
	}

	/* Wait a little beyond the modem's own retry budget so that the
	 * SLEEP_AFTER_TIMEOUT event is the normal exit path.
	 */
	if (k_sem_take(&fix_sem, K_SECONDS(timeout_s + 5U)) != 0) {
		LOG_WRN("GNSS wait expired with no modem event");
		ret = -ETIMEDOUT;
	} else if (!fix_ready) {
		LOG_WRN("GNSS timed out%s", blocked ? " (LTE was blocking)" : "");
		ret = -ETIMEDOUT;
	}

	/* Always stop the receiver: leaving it running is a ~50 mA leak. */
	err = nrf_modem_gnss_stop();
	if (err) {
		LOG_WRN("gnss_stop failed (%d)", err);
	}

	if (ret == 0) {
		out->lat_e7 = (int32_t)(pvt.latitude  * 1e7);
		out->lon_e7 = (int32_t)(pvt.longitude * 1e7);
		out->alt_cm = (int32_t)(pvt.altitude  * 100.0f);
		out->accuracy_dm = (uint16_t)(pvt.accuracy * 10.0f);
		out->ttff_s = (uint32_t)((k_uptime_get() - start_uptime_ms) / 1000);
		out->valid = true;

		last_fix = *out;

		LOG_INF("fix: lat=%d.%07d lon=%d.%07d acc=%u.%u m ttff=%u s",
			out->lat_e7 / 10000000, abs(out->lat_e7 % 10000000),
			out->lon_e7 / 10000000, abs(out->lon_e7 % 10000000),
			out->accuracy_dm / 10, out->accuracy_dm % 10,
			out->ttff_s);
	}

	return ret;
}

void gnss_ctrl_last_fix(struct gnss_fix *out)
{
	if (out != NULL) {
		*out = last_fix;
	}
}

bool gnss_ctrl_was_blocked(void)
{
	return blocked;
}
```
